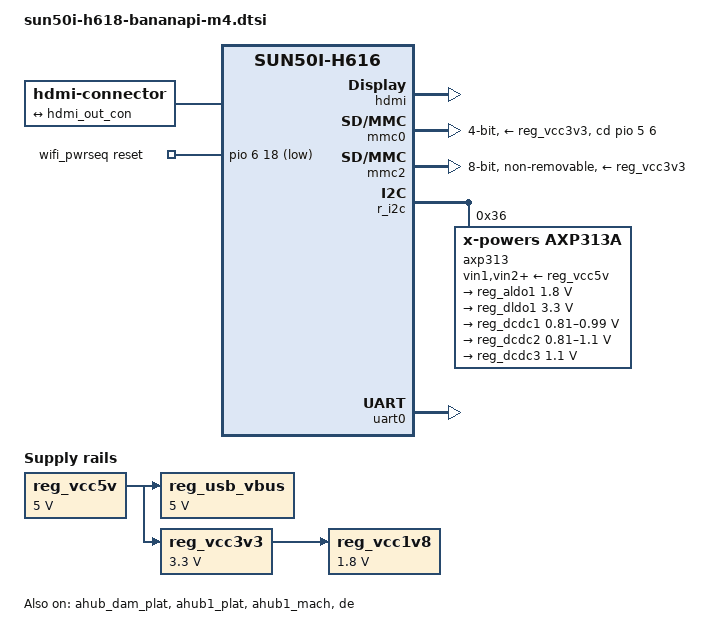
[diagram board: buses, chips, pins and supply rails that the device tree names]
// SPDX-License-Identifier: (GPL-2.0+ OR MIT)
/*
 * Copyright (c) 2025 Patrick Yavitz <pyavitz@armbian.com>
 */

/dts-v1/;

#include "sun50i-h616.dtsi"
#include "sun50i-h616-cpu-opp.dtsi"

#include <dt-bindings/gpio/gpio.h>
#include <dt-bindings/input/linux-event-codes.h>
#include <dt-bindings/interrupt-controller/arm-gic.h>
#include <dt-bindings/leds/common.h>

/ {
	aliases {
		serial0 = &uart0;
	};

	chosen {
		stdout-path = "serial0:115200n8";
		kaslr-seed = <0xfeedbeef 0xc0def00d>;
	};

	connector {
		compatible = "hdmi-connector";
		type = "d";

		port {
			hdmi_con_in: endpoint {
				remote-endpoint = <&hdmi_out_con>;
			};
		};
	};

	reg_usb_vbus: regulator-usb-vbus {
		/* Separate discrete regulator for the USB ports */
		compatible = "regulator-fixed";
		regulator-min-microvolt = <5000000>;
		regulator-max-microvolt = <5000000>;
		regulator-name = "usb-vbus";
		vin-supply = <&reg_vcc5v>;
	};

	reg_vcc5v: regulator-vcc5v {
		/* Board wide 5V supply directly from the USB-C socket */
		compatible = "regulator-fixed";
		regulator-always-on;
		regulator-min-microvolt = <5000000>;
		regulator-max-microvolt = <5000000>;
		regulator-name = "vcc-5v";
	};

	reg_vcc3v3: regulator-vcc3v3 {
		compatible = "regulator-fixed";
		regulator-always-on;
		regulator-min-microvolt = <3300000>;
		regulator-max-microvolt = <3300000>;
		regulator-name = "vcc-3v3";
		vin-supply = <&reg_vcc5v>;
	};

	reg_vcc1v8: regulator-vcc1v8 {
		compatible = "regulator-fixed";
		regulator-always-on;
		regulator-min-microvolt = <1800000>;
		regulator-max-microvolt = <1800000>;
		regulator-name = "vcc-1v8";
		vin-supply = <&reg_vcc3v3>;
	};

	wifi_pwrseq: wifi-pwrseq {
		compatible = "mmc-pwrseq-simple";
		clocks = <&rtc CLK_OSC32K_FANOUT>;
		clock-names = "ext_clock";
		pinctrl-0 = <&x32clk_fanout_pin>;
		pinctrl-names = "default";
		post-power-on-delay-ms = <200>;
		reset-gpios = <&pio 6 18 GPIO_ACTIVE_LOW>; /* PG18 */
	};
};

&ahub_dam_plat {
	status = "okay";
};

&ahub1_plat {
	status = "okay";
};

&ahub1_mach {
	status = "okay";
};

&codec {
	status = "disabled";
	allwinner,audio-routing = "Line Out", "LINEOUT";
};

&cpu0 {
	cpu-supply = <&reg_dcdc2>;
};

&de {
	status = "okay";
};

&gpu {
	status = "disabled";
	mali-supply = <&reg_dcdc1>;
};

&hdmi {
	status = "okay";
};

&hdmi_out {
	hdmi_out_con: endpoint {
		remote-endpoint = <&hdmi_con_in>;
	};
};

&i2c0 {
	status = "disabled";
	pinctrl-0 = <&i2c0_pins>;
	pinctrl-names = "default";
};

&i2c1 {
	status = "disabled";
	pinctrl-0 = <&i2c1_pi_pins>;
	pinctrl-names = "default";
};

&i2c3 {
	status = "disabled";
	pinctrl-0 = <&i2c3_pg_pins>;
	pinctrl-names = "default";
};

&i2c4 {
	status = "disabled";
	pinctrl-0 = <&i2c4_pg_pins>;
	pinctrl-names = "default";
};

&ir {
	status = "disabled";
	pinctrl-0 = <&ir_rx_pin>;
	pinctrl-names = "default";
};

/* SD card */
&mmc0 {
	status = "okay";
	bus-width = <4>;
	max-frequency = <50000000>;

	disable-wp;

	cd-gpios = <&pio 5 6 GPIO_ACTIVE_HIGH>;	/* PF6 */
	vmmc-supply = <&reg_vcc3v3>;
};

/* eMMC */
&mmc2 {
	status = "okay";
	bus-width = <8>;
	cap-mmc-hw-reset;
	mmc-hs200-1_8v;

	non-removable;
	disable-wp;

	vmmc-supply = <&reg_vcc3v3>;
	vqmmc-supply = <&reg_vcc1v8>;
};

&pio {
	vcc-pc-supply = <&reg_aldo1>;
	vcc-pf-supply = <&reg_dldo1>;
	vcc-pg-supply = <&reg_dldo1>;
	vcc-ph-supply = <&reg_dldo1>;
	vcc-pi-supply = <&reg_dldo1>;

	/* PC0 required for spi0 */
	mmc2_pins: mmc2-pins {
		pins = "PC1", "PC5", "PC6",
		       "PC8", "PC9", "PC10", "PC11",
		       "PC13", "PC14", "PC15", "PC16";
		function = "mmc2";
		drive-strength = <30>;
		bias-pull-up;
	};
};

&r_i2c {
	status = "okay";
	axp313: pmic@36 {
		compatible = "x-powers,axp313a";
		reg = <0x36>;
		#interrupt-cells = <1>;
		interrupt-controller;
		interrupt-parent = <&pio>;

		vin1-supply = <&reg_vcc5v>;
		vin2-supply = <&reg_vcc5v>;
		vin3-supply = <&reg_vcc5v>;

		regulators {
			reg_aldo1: aldo1 {
				regulator-always-on;
				regulator-min-microvolt = <1800000>;
				regulator-max-microvolt = <1800000>;
				regulator-name = "vcc-1v8-pll";
			};

			reg_dldo1: dldo1 {
				regulator-always-on;
				regulator-min-microvolt = <3300000>;
				regulator-max-microvolt = <3300000>;
				regulator-name = "vcc-3v3-io";
			};

			reg_dcdc1: dcdc1 {
				regulator-always-on;
				regulator-min-microvolt = <810000>;
				regulator-max-microvolt = <990000>;
				regulator-name = "vdd-gpu-sys";
			};

			reg_dcdc2: dcdc2 {
				regulator-always-on;
				regulator-min-microvolt = <810000>;
				regulator-max-microvolt = <1100000>;
				regulator-name = "vdd-cpu";
			};

			reg_dcdc3: dcdc3 {
				regulator-always-on;
				regulator-min-microvolt = <1100000>;
				regulator-max-microvolt = <1100000>;
				regulator-name = "vdd-dram";
			};
		};
	};
};

&spi0 {
	status = "disabled";
	pinctrl-0 = <&spi0_pins>, <&spi1_cs0_pin>;
	pinctrl-names = "default";

	spidev@1 {
		compatible = "rohm,dh2228fv";
		reg = <1>;
		spi-max-frequency = <1000000>;
	};
};

&spi1 {
	status = "disabled";
	pinctrl-0 = <&spi1_pins>, <&spi1_cs1_pin>;
	pinctrl-names = "default";

	spidev@1 {
		compatible = "rohm,dh2228fv";
		reg = <1>;
		spi-max-frequency = <1000000>;
	};
};

&uart0 {
	status = "okay";
	pinctrl-0 = <&uart0_ph_pins>;
	pinctrl-names = "default";
};

&uart1 {
	status = "disabled";
	pinctrl-0 = <&uart1_pins>;
	pinctrl-names = "default";
};

&uart4 {
	status = "disabled";
	pinctrl-0 = <&uart4_pi_pins>;
	pinctrl-names = "default";
};

&uart5 {
	status = "disabled";
	pinctrl-0 = <&uart5_pins>;
	pinctrl-names = "default";
};
